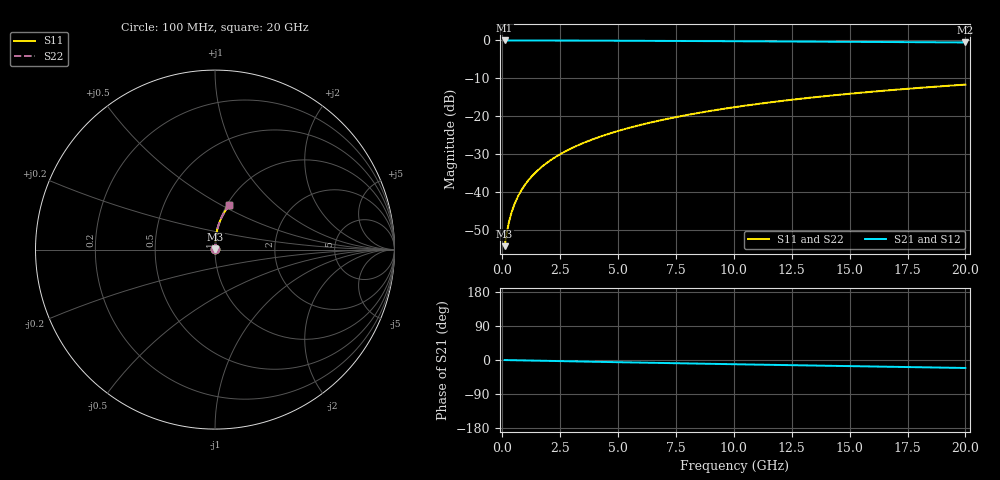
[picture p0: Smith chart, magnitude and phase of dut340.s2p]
! Touchstone file exported from HFSS 2024.1.0
!  File:  C:/UserFiles/LocalFiles/RDL_TSV_Batchsim/temp_RDL_top_340_1779607780.aedt
!  Generated:  03:31:56 PM May 24, 2026
!  Design:  RDL_top
!  Project:  temp_RDL_top_340_1779607780
!  Setup:  Setup1
!  Solution:  Sweep
! Variables:
!  dtsv = 10.80580581um
!  hbump = 3um
!  htsv = 53.08um
!  ldown = 100um
!  lrdl = 231.65um
!  p = 40
!  p1 = 57.85um
!  rhole = 1um
!  t = 450um
!  tdown = 3.915915916um
!  trdl = 3.77um
!  wdown = 15.38538539um
!  wrdl = 17.88um
# GHz S MA R 50.000000
! Terminal data exported
! Port[1] = Box2_T1
! Port[2] = Box2_T2
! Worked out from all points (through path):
!   200 points, 100 MHz to 20 GHz, reference 50 ohm
!   highest |S21| = -0.01 dB at 100 MHz (marker M1); lowest = -0.5 dB at 20 GHz (marker M2)
!   group delay of S21, straight-line fit = 2.9 ps
!   lowest |S11| = -54.4 dB at 100 MHz (marker M3), VSWR 1.00, Z = 50.1 + j0.131 ohm
!   |S11| at or under -10 dB: start of sweep to end of sweep
!   |S22| runs from -54.4 to -11.7 dB; largest |S21 - S12| = 2e-15
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0.1  0.001908 43.1  0.9986 -0.1  0.9986 -0.1  0.001908 43.1
! Gamma 0 0 0 0
! Port Impedance 50 0 50 0
0.2  0.00296 61.0  0.9986 -0.2  0.9986 -0.2  0.00296 61.0
0.3  0.004124 68.9  0.9985 -0.4  0.9985 -0.4  0.004124 68.9
0.4  0.005316 73.3  0.9984 -0.5  0.9984 -0.5  0.005316 73.3
0.5  0.006518 76.2  0.9984 -0.6  0.9984 -0.6  0.006518 76.2
0.6  0.007727 78.1  0.9983 -0.7  0.9983 -0.7  0.007727 78.1
0.8  0.01016 80.7  0.9982 -1.0  0.9982 -1.0  0.01016 80.7
1.1  0.01384 83.0  0.9979 -1.3  0.9979 -1.3  0.01384 83.0
1.5  0.01879 84.6  0.9975 -1.8  0.9975 -1.8  0.01879 84.6
1.8  0.02252 85.3  0.9972 -2.1  0.9972 -2.1  0.02252 85.3
2.1  0.02628 85.7  0.9968 -2.5  0.9968 -2.5  0.02628 85.7
2.7  0.03385 86.3  0.9958 -3.2  0.9958 -3.2  0.03385 86.3
3.5  0.04406 86.5  0.9943 -4.1  0.9943 -4.1  0.04406 86.5
4.2  0.05311 86.5  0.9927 -4.9  0.9927 -4.9  0.05311 86.5
5  0.06357 86.2  0.9906 -5.8  0.9906 -5.8  0.06357 86.2
5.9  0.07548 85.8  0.9881 -6.8  0.9881 -6.8  0.07548 85.8
6.8  0.08751 85.2  0.9855 -7.8  0.9855 -7.8  0.08751 85.2
8.3  0.1077 84.0  0.9809 -9.4  0.9809 -9.4  0.1077 84.0
10.1  0.1321 82.3  0.9752 -11.3  0.9752 -11.3  0.1321 82.3
13.4  0.1763 78.9  0.9641 -14.6  0.9641 -14.6  0.1763 78.9
16.7  0.2193 75.5  0.9522 -17.9  0.9522 -17.9  0.2193 75.5
20  0.2606 72.1  0.9395 -21.0  0.9395 -21.0  0.2606 72.1
